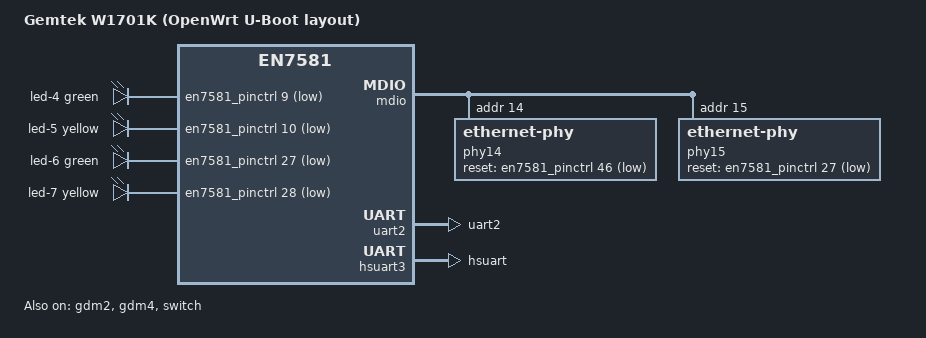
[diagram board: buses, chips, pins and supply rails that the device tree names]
// SPDX-License-Identifier: GPL-2.0-or-later OR MIT

/dts-v1/;

#include "an7581-gemtek-17xx-common.dtsi"

/ {
	model = "Gemtek W1701K (OpenWrt U-Boot layout)";
	compatible = "gemtek,w1701k-ubi", "airoha,an7581", "airoha,en7581";

	chosen {
		rootdisk = <&ubi_rootfs>;
		bootargs = "console=ttyS0,115200 earlycon ubi.block=0,fit root=/dev/fit0 rootwait";
		stdout-path = "serial0:115200n8";
	};

	leds {
		led-4 {
			color = <LED_COLOR_ID_GREEN>;
			function = LED_FUNCTION_LAN;
			function-enumerator = <3>;
			gpios = <&en7581_pinctrl 9 GPIO_ACTIVE_LOW>;
		};

		led-5 {
			color = <LED_COLOR_ID_YELLOW>;
			function = LED_FUNCTION_LAN;
			function-enumerator = <3>;
			gpios = <&en7581_pinctrl 10 GPIO_ACTIVE_LOW>;
		};

		led-6 {
			color = <LED_COLOR_ID_GREEN>;
			function = LED_FUNCTION_LAN;
			function-enumerator = <4>;
			gpios = <&en7581_pinctrl 27 GPIO_ACTIVE_LOW>;
		};

		led-7 {
			color = <LED_COLOR_ID_YELLOW>;
			function = LED_FUNCTION_LAN;
			function-enumerator = <4>;
			gpios = <&en7581_pinctrl 28 GPIO_ACTIVE_LOW>;
		};
	};
};

&en7581_pinctrl {
	/* W1701K does not use the MT7530 integrated switch, however the driver
	 * fails to probe without gswpX_led0_pins defined, so put a dummy here.
	 */

	gswp1_led0_pins: gswp1-led0-pins {
		mux {
			function = "phy1_led0";
			pins = "gpio33";
		};
	};

	gswp2_led0_pins: gswp2-led0-pins {
		mux {
			function = "phy2_led0";
			pins = "gpio34";
		};
	};

	uart2_pins: uart2-pins {
		mux {
			function = "uart";
			groups = "uart2";
		};
	};

	hsuart_pins: hsuart-pins {
		mux {
			function = "uart";
			groups = "hsuart";
		};
	};
};

&gdm2 {
	status = "okay";

	phy-handle = <&phy15>;
	phy-mode = "2500base-x";

	nvmem-cells = <&lan_mac 0>;
	nvmem-cell-names = "mac-address";
	openwrt,netdev-name = "lan1";
};

&gdm4 {
	status = "okay";

	phy-handle = <&phy14>;
	phy-mode = "2500base-x";

	nvmem-cells = <&lan_mac 0>;
	nvmem-cell-names = "mac-address";
	openwrt,netdev-name = "lan2";
};

&switch {
	status = "okay";

	pinctrl-names = "default";
	pinctrl-0 = <&mdio_pins>;

	mdio {
		phy14: ethernet-phy@14 {
			reg = <14>;
			reset-gpios = <&en7581_pinctrl 46 GPIO_ACTIVE_LOW>;
			reset-assert-us = <10000>;
			reset-deassert-us = <20000>;

			leds {
				#address-cells = <1>;
				#size-cells = <0>;

				led@0 {
					reg = <0>;
					color = <LED_COLOR_ID_GREEN>;
					function = LED_FUNCTION_LAN;
					default-state = "keep";
				};

				led@1 {
					reg = <1>;
					color = <LED_COLOR_ID_AMBER>;
					function = LED_FUNCTION_LAN;
					default-state = "keep";
				};
			};
		};

		phy15: ethernet-phy@15 {
			reg = <15>;
			reset-gpios = <&en7581_pinctrl 27 GPIO_ACTIVE_LOW>;
			reset-assert-us = <10000>;
			reset-deassert-us = <20000>;

			leds {
				#address-cells = <1>;
				#size-cells = <0>;

				led@0 {
					reg = <0>;
					color = <LED_COLOR_ID_GREEN>;
					function = LED_FUNCTION_LAN;
					default-state = "keep";
				};

				led@1 {
					reg = <1>;
					color = <LED_COLOR_ID_AMBER>;
					function = LED_FUNCTION_LAN;
					default-state = "keep";
				};
			};
		};
	};
};

&gsw_port1 {
	status = "disabled";
};

&gsw_port2 {
	status = "disabled";
};

&gsw_port3 {
	status = "disabled";
};

&gsw_port4 {
	status = "disabled";
};

&uart2 {
	status = "okay";
	pinctrl-names = "default";
	pinctrl-0 = <&uart2_pins>;
};

&hsuart3 {
	status = "okay";
	pinctrl-names = "default";
	pinctrl-0 = <&hsuart_pins>;
};
